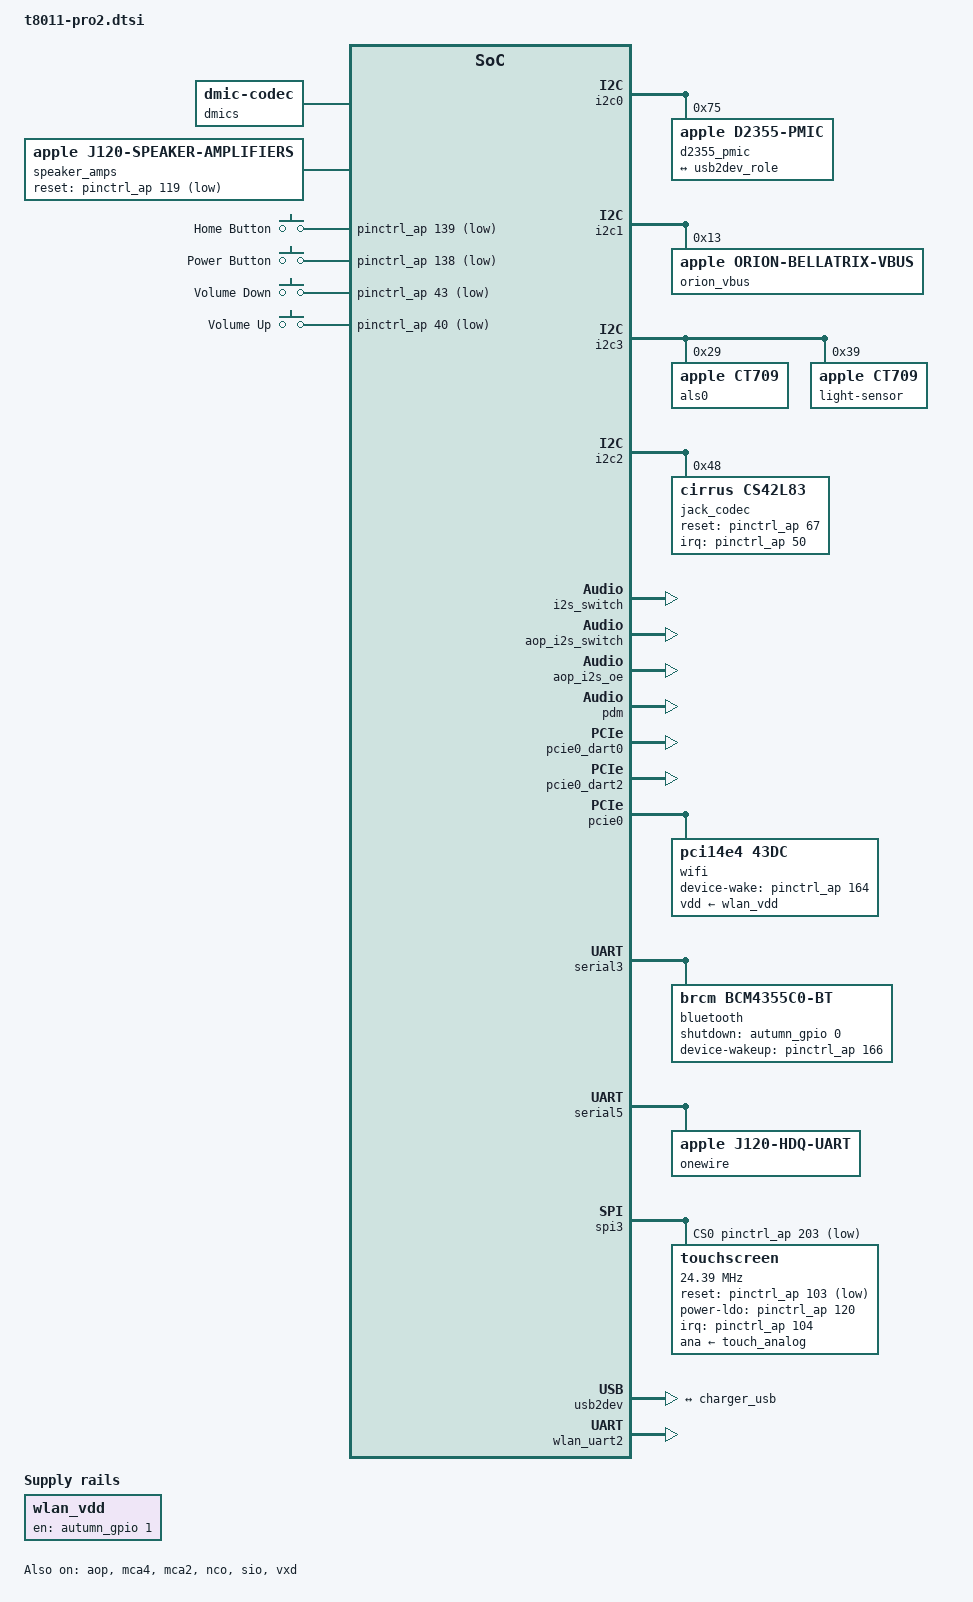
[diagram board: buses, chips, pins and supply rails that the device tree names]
// SPDX-License-Identifier: GPL-2.0+ OR MIT
/*
 * Apple iPad Pro 2 common device tree
 *
 * Copyright (c) 2022, Konrad Dybcio <konradybcio@kernel.org>
 */

#include <dt-bindings/input/input.h>
#include <dt-bindings/interrupt-controller/irq.h>

/*
 * The four iPad Pro 2 boards (J120, J121: 12.9-inch; J207, J208:
 * 10.5-inch) are wired alike: their iPadOS 17.7.11 (21H461) device trees
 * differ in the panel, the touch firmware personality, the Wi-Fi module
 * instance and, on the cellular boards, the baseband. The boards name
 * their touch firmware, panel size, Wi-Fi board type and sound cards.
 */

/ {
	chassis-type = "tablet";

	aliases {
		als0 = &als0;
		aop = &aop;
		bluetooth0 = &bluetooth;
		nvme-hmb = &nvme_hmb;
		touchscreen0 = &touchscreen;
		wifi0 = &wifi;
	};

	reserved-memory {
		#address-cells = <2>;
		#size-cells = <2>;
		ranges;

		/* The boot loader fills this from the ADT's sart-region. */
		nvme_hmb: nvme-hmb@0 {
			reg = <0 0 0 0>;
			no-map;
		};
	};

	/* WLAN REG_ON is the D2401's GPIO 1 (ADT wlan function-reg_on). */
	wlan_vdd: regulator-wlan-vdd {
		compatible = "regulator-fixed";
		regulator-name = "wlan-vdd";
		gpio = <&autumn_gpio 1 GPIO_ACTIVE_HIGH>;
		enable-active-high;
	};

	/* ADT clock 0x134; the boot loader sets this source up. */
	spi3_nclk: clock-spi3-nclk {
		compatible = "fixed-clock";
		#clock-cells = <0>;
		clock-frequency = <61538461>;
		clock-output-names = "spi3-nclk";
	};

	/* The two built-in PDM microphones */
	dmics: audio-codec {
		compatible = "dmic-codec";
		#sound-dai-cells = <0>;
		num-channels = <2>;
	};

	headphones: sound-headphones {
		compatible = "simple-audio-card";
		simple-audio-card,format = "i2s";
		simple-audio-card,bitclock-master = <&jack_cpu>;
		simple-audio-card,frame-master = <&jack_cpu>;
		simple-audio-card,widgets = "Headphone", "Headphones";
		simple-audio-card,routing = "Headphones", "Jack HP";
		simple-audio-card,pin-switches = "Headphones";
		simple-audio-card,aux-devs = <&jack_codec>;

		jack_cpu: simple-audio-card,cpu {
			sound-dai = <&mca4>;
		};

		simple-audio-card,codec {
			sound-dai = <&jack_codec>;
		};
	};

	/*
	 * The four MAX98723 speaker amplifiers: two on I2C1 and two on I2C2,
	 * at 0x31 and 0x32, behind one reset line (AP GPIO 119), on the MCA2
	 * TDM link. The driver programs the J120 ADT's speaker-config.
	 */
	speaker_amps: speaker-amplifiers {
		compatible = "apple,j120-speaker-amplifiers";
		reset-gpios = <&pinctrl_ap 119 GPIO_ACTIVE_LOW>;
		speaker-buses = <&i2c1>, <&i2c2>;
		#sound-dai-cells = <0>;
	};

	/* The node name is what the desktop's speaker routing looks for. */
	speakers: sound-speaker-transport {
		compatible = "simple-audio-card";
		simple-audio-card,format = "dsp_a";
		simple-audio-card,bitclock-master = <&speaker_cpu>;
		simple-audio-card,frame-master = <&speaker_cpu>;

		speaker_cpu: simple-audio-card,cpu {
			sound-dai = <&mca2>;
		};

		simple-audio-card,codec {
			sound-dai = <&speaker_amps>;
		};
	};

	microphones: sound-microphones {
		compatible = "simple-audio-card";

		simple-audio-card,cpu {
			sound-dai = <&pdm>;
		};

		simple-audio-card,codec {
			sound-dai = <&dmics>;
		};
	};

	gpio-keys {
		compatible = "gpio-keys";

		button-home {
			label = "Home Button";
			gpios = <&pinctrl_ap 139 GPIO_ACTIVE_LOW>;
			linux,code = <KEY_HOMEPAGE>;
			wakeup-source;
		};

		button-power {
			label = "Power Button";
			gpios = <&pinctrl_ap 138 GPIO_ACTIVE_LOW>;
			linux,code = <KEY_POWER>;
			wakeup-source;
		};

		button-voldown {
			label = "Volume Down";
			gpios = <&pinctrl_ap 43 GPIO_ACTIVE_LOW>;
			linux,code = <KEY_VOLUMEDOWN>;
		};

		button-volup {
			label = "Volume Up";
			gpios = <&pinctrl_ap 40 GPIO_ACTIVE_LOW>;
			linux,code = <KEY_VOLUMEUP>;
		};
	};
};

&framebuffer0 {
	display = <&h9g_display>;
};

&august_pmic {
	/*
	 * Smart Cover hall sensors: D2400 GPIO 0 ("halleffect1") and 10
	 * ("halleffect") in the ADT /buttons node, low while the cover is
	 * closed, read by polling; the cover counts as closed once both
	 * agree twice. The PMU events of both lines wake the system
	 * (apple,wake-events).
	 */
	cover-switch {
		compatible = "apple,j120-cover-switch";
	};

	backlight@b00 {
		compatible = "apple,august-pmic-bl", "apple,aria-pmic-bl";
		reg = <0xb00 0x2>;
	};

	august_gpio: gpio {
		compatible = "apple,d2400-pmic-gpio";
		gpio-controller;
		#gpio-cells = <2>;
		interrupt-controller;
		#interrupt-cells = <2>;
		interrupt-parent = <&pinctrl_aop>;
		interrupts = <26 IRQ_TYPE_LEVEL_LOW>;
		apple,wake-events = <0x30 0x3a>;
	};

	touch_analog: regulator-touch-analog {
		compatible = "apple,august-touch-analog-regulator";
		regulator-name = "touch-analog";
	};
};

/*
 * The Lightning port: the cbtl1610 Tristar and the D2355 charger PMU, whose
 * PMU events come on AP GPIO 204. The August PMIC's ADC samples the
 * Tristar's lines (conversion done is August event 168).
 */
&i2c0 {
	tristar: port-controller@1a {
		compatible = "nxp,cbtl1610";
		reg = <0x1a>;
	};

	d2355_pmic: pmic@75 {
		compatible = "apple,d2355-pmic", "apple,i2c-pmic";
		reg = <0x75>;
		#address-cells = <1>;
		#size-cells = <1>;

		d2355_events: gpio {
			compatible = "apple,d2355-pmic-gpio";
			interrupt-controller;
			#interrupt-cells = <2>;
			interrupt-parent = <&pinctrl_ap>;
			interrupts = <204 IRQ_TYPE_LEVEL_LOW>;
		};

		charger: charger@80 {
			compatible = "apple,d2355-tristar-charger";
			reg = <0x80 0x0a>, <0x443 0x0c>, <0x4000 0x03>;
			reg-names = "status", "control", "adc";
			/* The PMU line, ADC done, then the source events. */
			interrupts-extended = <&d2355_events 80 IRQ_TYPE_EDGE_RISING>,
					      <&august_gpio 168 IRQ_TYPE_EDGE_RISING>,
					      <&d2355_events 40 IRQ_TYPE_EDGE_RISING>,
					      <&d2355_events 42 IRQ_TYPE_EDGE_RISING>,
					      <&d2355_events 53 IRQ_TYPE_EDGE_RISING>;
			apple,tristar = <&tristar>;
			apple,adc-pmic = <&august_pmic>;
			firmware-name = "apple/j120/usb-input-limit-calibration-hv.bin";
			/* A conservative window, not Apple's production limits. */
			apple,pack-limits = <150 350 3400000 4200000 (-2000000) 2000000>;
			/* 1.5 A only while the Lightning VBUS reads 4.75-5.5 V. */
			input-current-limit-microamp = <1500000>;
			io-channels = <&orion_vbus 0>;
			io-channel-names = "vbus";

			port {
				charger_usb: endpoint {
					remote-endpoint = <&usb2dev_role>;
				};
			};
		};
	};
};

&i2c1 {
	status = "okay";

	/* Bellatrix (ADT orion-ic): reads the Lightning VBUS. */
	orion_vbus: adc@13 {
		compatible = "apple,orion-bellatrix-vbus";
		reg = <0x13>;
		#io-channel-cells = <1>;
	};
};

/* The two CT709 ambient light sensors; m1n1 copies the calibration to als0. */
&i2c3 {
	status = "okay";

	als0: light-sensor@29 {
		compatible = "apple,ct709";
		reg = <0x29>;
	};

	light-sensor@39 {
		compatible = "apple,ct709";
		reg = <0x39>;
	};
};

/* GPIO 0 (Bluetooth shutdown) and 1 (WLAN enable) are driven; the rest stay with the firmware. */
&autumn_pmic {
	/* Its only child here has no register range. */
	/delete-property/ #address-cells;
	/delete-property/ #size-cells;

	autumn_gpio: gpio {
		compatible = "apple,d2401-pmic-gpio";
		gpio-controller;
		#gpio-cells = <2>;
		gpio-reserved-ranges = <2 18>;
	};
};

&i2c2 {
	status = "okay";

	jack_codec: audio-codec@48 {
		compatible = "cirrus,cs42l83";
		reg = <0x48>;
		reset-gpios = <&pinctrl_ap 67 GPIO_ACTIVE_HIGH>;
		interrupts-extended = <&pinctrl_ap 50 IRQ_TYPE_LEVEL_LOW>;
		#sound-dai-cells = <0>;
		sound-name-prefix = "Jack";
	};
};

&aop {
	firmware-name = "apple/aop-ipad7.bin", "apple/aop-ipad7-ext.bin";
	status = "okay";
};

&aop_mbox {
	status = "okay";
};

&i2s_switch {
	status = "okay";
};

&aop_i2s_switch {
	status = "okay";
};

&aop_i2s_oe {
	status = "okay";
};

/* The CS42L83 sits on AOP pads behind the AOP's i2s-switch. */
&mca4 {
	apple,i2s-switch = <&i2s_switch 4 4>;
	apple,aop-i2s-route = <&aop_i2s_switch 0x0 0x00010101>,
			      <&aop_i2s_switch 0xc 0x00080818>,
			      <&aop_i2s_oe 0x0 0xf>;
	status = "okay";
};

/* The speaker amplifiers sit on AP pads behind the i2s-switch. */
&mca2 {
	apple,i2s-switch = <&i2s_switch 2 2>;
	status = "okay";
};

&nco {
	status = "okay";
};

&nco_clkref {
	clock-frequency = <800000000>;
};

&pdm {
	status = "okay";
};

&sio {
	status = "okay";
};

&vxd {
	status = "okay";
};

&pcie0_dart0 {
	status = "okay";
};

&pcie0_dart2 {
	status = "okay";
};

&pcie0 {
	apple,nvme-hmb = <&nvme_hmb>;
	/* Storage is bus 1, Wi-Fi bus 2, each behind its own DART. */
	iommu-map = <0x100 &pcie0_dart0 0 0x0 0x80000000 0x0 0x3c000000 1>,
		    <0x200 &pcie0_dart2 0 0x0 0x80000000 0x0 0x3ffff000 1>;
	iommu-map-mask = <0xff00>;
	pinctrl-0 = <&storage_clkreq>, <&wifi_clkreq>;
	pinctrl-names = "default";
	status = "okay";

	pci@0,0 {
		device_type = "pci";
		reg = <0x0 0x0 0x0 0x0 0x0>;
		bus-range = <1 1>;
		max-link-speed = <3>;
		reset-gpios = <&pinctrl_ap 10 GPIO_ACTIVE_LOW>;
		apple,manual-availability-iommu = <&pcie0_dart0 0>;

		#address-cells = <3>;
		#size-cells = <2>;
		ranges;
	};

	/* ADT pci-bridge2: MSI vectors 16-19, 2.5 GT/s. */
	pci@2,0 {
		device_type = "pci";
		reg = <0x1000 0x0 0x0 0x0 0x0>;
		bus-range = <2 2>;
		max-link-speed = <1>;
		reset-gpios = <&pinctrl_ap 100 GPIO_ACTIVE_LOW>;
		apple,msi-vector-range = <16 4>;
		apple,manual-availability-iommu = <&pcie0_dart2 0>;
		apple,endpoint-power-after-link-setup;

		#address-cells = <3>;
		#size-cells = <2>;
		ranges;

		wifi: wifi@0,0 {
			compatible = "pci14e4,43dc";
			reg = <0x20000 0x0 0x0 0x0 0x0>;
			apple,wlan-uart = <&wlan_uart2>;
			device-wake-gpios = <&pinctrl_ap 164 GPIO_ACTIVE_HIGH>;
			vdd-supply = <&wlan_vdd>;
		};
	};
};

&pinctrl_ap {
	battery_swi_pins: battery-swi-pins {
		pinmux = <APPLE_PINMUX(163, 1)>;
	};

	/* The native UART3 node describes TX and RTS. */
	bluetooth_uart3_pins: bluetooth-uart3-pins {
		pinmux = <APPLE_PINMUX(145, 1)>,
			 <APPLE_PINMUX(147, 1)>;
	};

	storage_clkreq: storage-clkreq-pins {
		pinmux = <APPLE_PINMUX(13, 1)>;
	};

	wifi_clkreq: wifi-clkreq-pins {
		pinmux = <APPLE_PINMUX(101, 1)>;
	};

	wlan_uart2_pins: wlan-uart2-pins {
		pinmux = <APPLE_PINMUX(150, 1)>,
			 <APPLE_PINMUX(152, 1)>;
	};

	/* The display sync pins: function 1 while touch runs, GPIO otherwise. */
	touch_sync_active: touch-sync-active-pins {
		pinmux = <APPLE_PINMUX(205, 1)>,
			 <APPLE_PINMUX(206, 1)>,
			 <APPLE_PINMUX(207, 1)>;
	};

	touch_sync_inactive: touch-sync-inactive-pins {
		pinmux = <APPLE_PINMUX(207, 0)>,
			 <APPLE_PINMUX(206, 0)>,
			 <APPLE_PINMUX(205, 0)>;
	};
};

&serial3 {
	pinctrl-0 = <&bluetooth_uart3_pins>;
	pinctrl-names = "default";
	uart-has-rtscts;
	status = "okay";

	bluetooth: bluetooth {
		compatible = "brcm,bcm4355c0-bt";
		max-speed = <3000000>;
		shutdown-gpios = <&autumn_gpio 0 GPIO_ACTIVE_HIGH>;
		device-wakeup-gpios = <&pinctrl_ap 166 GPIO_ACTIVE_HIGH>;
		apple,wlan = <&wifi>;
		/* The boot loader fills in the unit's address and calibration. */
		local-bd-address = [00 00 00 00 00 00];
	};
};

&serial5 {
	pinctrl-0 = <&battery_swi_pins>;
	pinctrl-names = "default";
	status = "okay";

	onewire {
		compatible = "apple,j120-hdq-uart", "ti,hdq-uart";

		battery: fuel-gauge {
			compatible = "apple,j120-bq27540", "ti,bq27540-hdq";
		};
	};
};

&spi3 {
	clocks = <&spi3_nclk>;
	cs-gpios = <&pinctrl_ap 203 GPIO_ACTIVE_LOW>;
	status = "okay";

	/* The K1 controller; boards give its firmware and panel size. */
	touchscreen: touchscreen@0 {
		reg = <0>;
		spi-max-frequency = <24390243>;
		spi-cpha;
		spi-cpol;
		interrupts-extended = <&pinctrl_ap 104 IRQ_TYPE_EDGE_FALLING>;
		reset-gpios = <&pinctrl_ap 103 GPIO_ACTIVE_LOW>;
		power-ldo-gpios = <&pinctrl_ap 120 GPIO_ACTIVE_HIGH>;
		ana-supply = <&touch_analog>;
		clocks = <&touchclk>;
		pinctrl-names = "display-sync-active", "display-sync-inactive";
		pinctrl-0 = <&touch_sync_active>;
		pinctrl-1 = <&touch_sync_inactive>;
	};
};

/* The Lightning charger sets the data role once the source is known. */
&usb2dev {
	usb-role-switch;

	port {
		usb2dev_role: endpoint {
			remote-endpoint = <&charger_usb>;
		};
	};
};

&wlan_uart2 {
	pinctrl-0 = <&wlan_uart2_pins>;
	pinctrl-names = "default";
	status = "okay";
};

&ps_dcs6 {
	apple,always-on; /* LPDDR4 interface */
};

&ps_dcs7 {
	apple,always-on; /* LPDDR4 interface */
};
